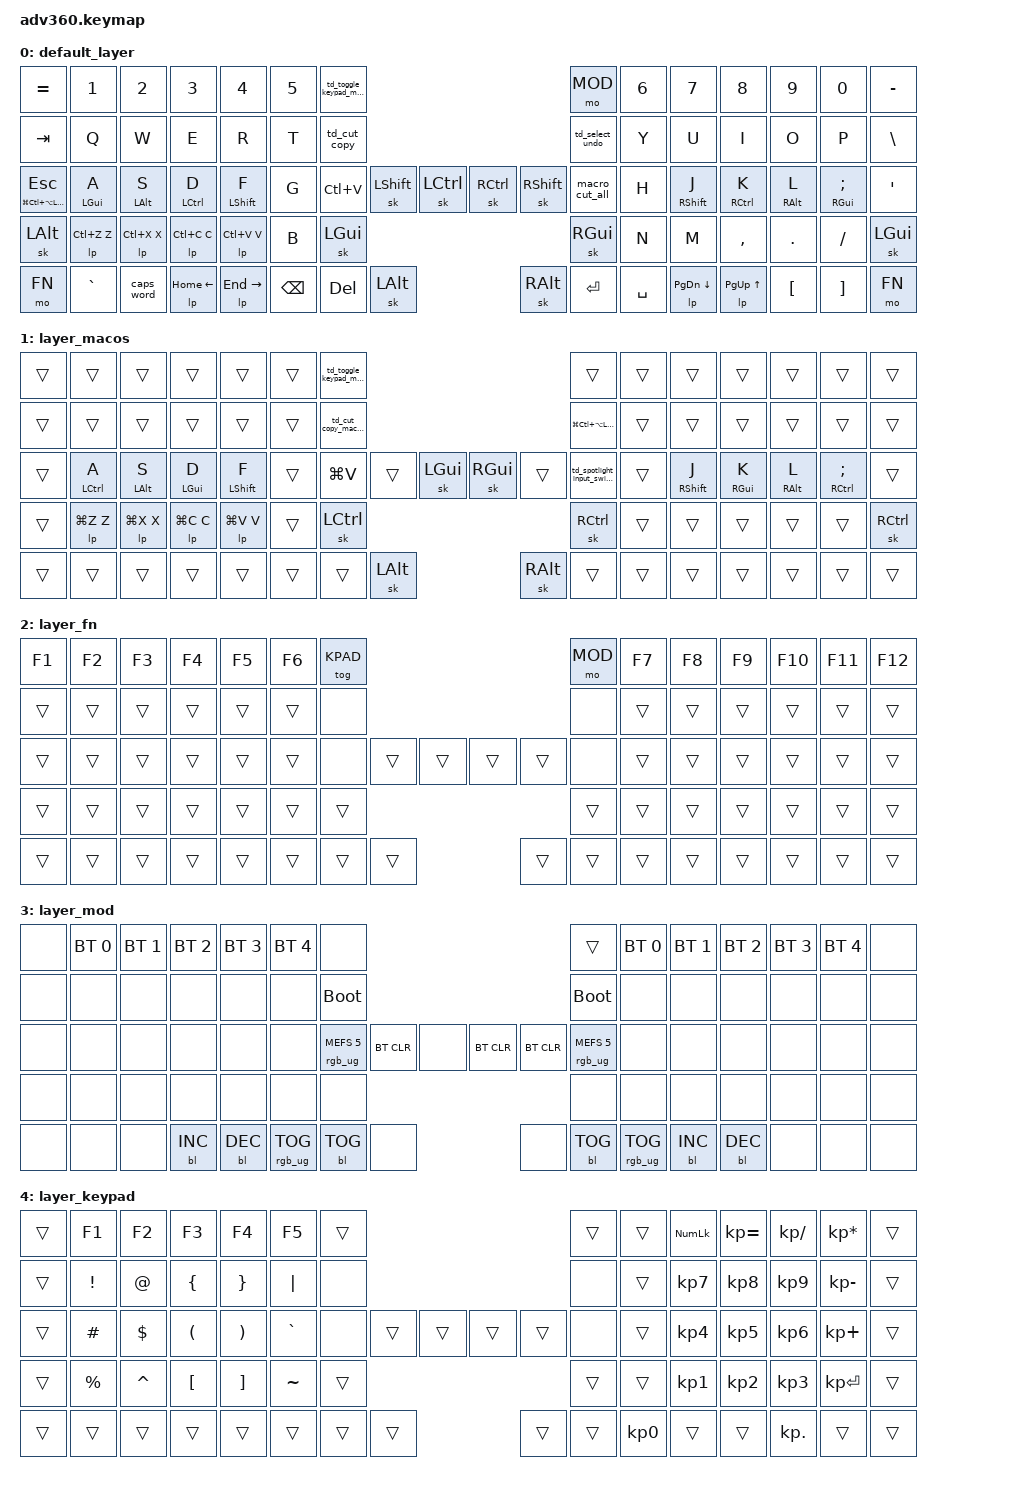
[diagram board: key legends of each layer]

/*
 * Copyright (c) 2020 The ZMK Contributors
 *
 * SPDX-License-Identifier: MIT
 */

#include <behaviors.dtsi>
#include <dt-bindings/zmk/keys.h>
#include <dt-bindings/zmk/bt.h>
#include <dt-bindings/zmk/rgb.h>
#include <dt-bindings/zmk/backlight.h>

// Layer definitions
#define BASE 0
#define MAC  1
#define FN   2
#define MOD  3
#define KPAD 4

// Default behavior customizations
&caps_word {
    continue-list = <UNDERSCORE MINUS>;
};

&sk {
    quick-release;
};

#define HYPER LG(LC(LA(LSHIFT)))

/ {
    combos {
        compatible = "zmk,combos";
        combo_screenshot {
            timeout-ms = <100>;
            // Q + W
            key-positions = <15 16>;
            bindings = <&kp LG(LS(N4))>;
            layers = <MAC>;
        };
    };

    behaviors {
      #include "custom_behaviors.dtsi"
      #include "macros.dtsi"
      #include "tap_dances.dtsi"
      #include "version.dtsi"
      #ifndef VERSION_MACRO
      macro_ver: macro_ver {
        compatible = "zmk,behavior-macro";
        #binding-cells = <0>;
        bindings = <&kp RET>;
      };
      #endif

    };

    keymap {
        compatible = "zmk,keymap";


        default_layer {
            bindings = <
    &kp EQUAL  &kp N1      &kp N2      &kp N3        &kp N4        &kp N5    &td_toggle_keypad_macos                                    &mo MOD            &kp N6     &kp N7          &kp N8        &kp N9      &kp N0         &kp MINUS
      &kp TAB  &kp Q       &kp W       &kp E         &kp R         &kp T     &td_cut_copy                                               &td_select_undo    &kp Y      &kp U           &kp I         &kp O       &kp P          &kp BSLH
&hm HYPER ESC  &hm LGUI A  &hm LALT S  &hm LCTRL D   &hm LSHFT F   &kp G     &kp LC(V)     &sk LSHIFT  &sk LCTRL &sk RCTRL  &sk RSHIFT  &macro_cut_all     &kp H      &hm RSHFT J     &hm RCTRL K   &hm RALT L  &hm RGUI SEMI  &kp SQT
 &sk LEFT_ALT  &lp LC(Z) Z &lp LC(X) X &lp LC(C) C   &lp LC(V) V   &kp B                               &sk LGUI  &sk RGUI                                  &kp N      &kp M           &kp COMMA     &kp DOT     &kp FSLH       &sk LEFT_GUI
       &mo FN  &kp GRAVE   &caps_word  &lp HOME LEFT &lp END RIGHT &kp BSPC  &kp DEL                   &sk LALT  &sk RALT               &kp ENTER          &kp SPACE  &lp PG_DN DOWN  &lp PG_UP UP  &kp LBKT    &kp RBKT       &mo FN
            >;
        };

        layer_macos {
            bindings = <
 &trans  &trans       &trans     &trans      &trans       &trans  &td_toggle_keypad_macos                                 &trans                  &trans   &trans  &trans  &trans  &trans  &trans
 &trans  &trans       &trans     &trans      &trans       &trans  &td_cut_copy_macos                                      &kp HYPER               &trans   &trans  &trans  &trans  &trans  &trans
 &trans  &hm LCTRL A  &hm LALT S &hm LGUI D  &hm LSHFT F  &trans  &kp LG(V)          &trans  &sk LGUI  &sk RGUI   &trans  &td_spotlight_input_switch_lock  &trans  &hm RSHIFT J  &hm RGUI K  &hm RALT L  &hm RCTRL SEMI  &trans
 &trans  &lp LG(Z) Z &lp LG(X) X &lp LG(C) C &lp LG(V) V  &trans                             &sk LCTRL &sk RCTRL                                  &trans   &trans  &trans  &trans  &trans  &sk RCTRL
 &trans  &trans       &trans     &trans      &trans       &trans  &trans                     &sk LALT  &sk RALT           &trans                  &trans   &trans  &trans  &trans  &trans  &trans

            >;
        };

        layer_fn {
            bindings = <
 &kp F1  &kp F2  &kp F3  &kp F4  &kp F5  &kp F6         &tog KPAD &mo MOD  &kp F7  &kp F8  &kp F9  &kp F10  &kp F11  &kp F12
 &trans  &trans  &trans  &trans  &trans  &trans             &none   &none  &trans  &trans  &trans   &trans   &trans   &trans
 &trans  &trans  &trans  &trans  &trans  &trans             &none  &trans  &trans                   &trans   &trans    &none  &trans  &trans  &trans  &trans  &trans  &trans
 &trans  &trans  &trans  &trans  &trans  &trans                    &trans                  &trans                     &trans  &trans  &trans  &trans  &trans  &trans
 &trans  &trans  &trans  &trans  &trans  &trans            &trans  &trans  &trans  &trans  &trans   &trans   &trans   &trans  &trans  &trans
            >;
        };

        layer_mod {
            bindings = <
  &none  &bt BT_SEL 0  &bt BT_SEL 1  &bt BT_SEL 2  &bt BT_SEL 3     &bt BT_SEL 4                             &none       &trans  &bt BT_SEL 0  &bt BT_SEL 1     &bt BT_SEL 2  &bt BT_SEL 3  &bt BT_SEL 4                   &none
  &none         &none         &none         &none         &none            &none                       &bootloader  &bootloader         &none         &none            &none         &none         &none                   &none
  &none         &none         &none         &none         &none            &none            &rgb_ug RGB_MEFS_CMD 5   &bt BT_CLR         &none                                   &bt BT_CLR    &bt BT_CLR  &rgb_ug RGB_MEFS_CMD 5   &none   &none   &none   &none   &none   &none
  &none         &none         &none         &none         &none            &none                                                        &none                                   &none                                      &none   &none   &none   &none   &none   &none
  &none         &none         &none    &bl BL_INC    &bl BL_DEC  &rgb_ug RGB_TOG                        &bl BL_TOG        &none         &none    &bl BL_TOG  &rgb_ug RGB_TOG    &bl BL_INC    &bl BL_DEC                   &none   &none   &none
            >;
        };

        layer_keypad {
            bindings = <
 &trans  &kp F1    &kp F2    &kp F3    &kp F4    &kp F5    &trans                                 &trans &trans  &kp KP_NUM &kp KP_EQUAL &kp KP_DIVIDE &kp KP_MULTIPLY &trans
 &trans  &kp EXCL  &kp AT    &kp LBRC  &kp RBRC  &kp PIPE   &none                                 &none  &trans  &kp KP_N7  &kp KP_N8    &kp KP_N9     &kp KP_MINUS    &trans
 &trans  &kp HASH  &kp DLLR  &kp LPAR  &kp RPAR  &kp GRAVE  &none  &trans  &trans  &trans  &trans &none  &trans  &kp KP_N4  &kp KP_N5    &kp KP_N6     &kp KP_PLUS     &trans
 &trans  &kp PRCNT &kp CARET &kp LBKT  &kp RBKT  &kp TILDE         &trans  &trans                        &trans  &kp KP_N1  &kp KP_N2    &kp KP_N3     &kp KP_ENTER    &trans
 &trans  &trans    &trans    &trans    &trans    &trans    &trans  &trans  &trans  &trans     &kp KP_N0          &trans     &trans       &kp KP_DOT    &trans          &trans
            >;
        };
    };
};
